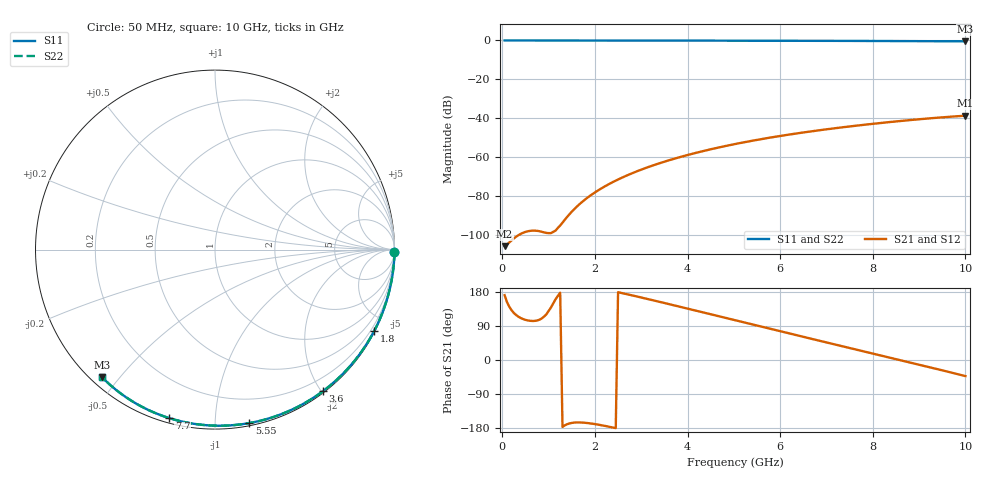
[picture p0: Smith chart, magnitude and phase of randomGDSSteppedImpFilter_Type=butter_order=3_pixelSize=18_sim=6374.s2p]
! freq	dB(S11)	phase(S11)	dB(S12)	phase(S12)
!  dB(S21)	phase(S21)	dB(S22)	phase(S22)
!S-par simulation data
#  GHz  S  DB  R 50
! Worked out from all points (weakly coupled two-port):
!   200 points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, 50 MHz to 10 GHz, reference 50 ohm
!   highest |S21| = -38.64 dB at 10 GHz (marker M1); lowest = -105.6 dB at 50 MHz (marker M2)
!   lowest |S11| = -0.4 dB at 10 GHz (marker M3), VSWR 38.62, Z = 1.56 - j22.4 ohm
!   |S11| at or under -10 dB: nowhere
!   |S22| runs from -0.4 to 0.0 dB; largest |S21 - S12| = 0
!   S11 on the Smith chart (normalised r, x): 50 MHz: open; 1.8 GHz: 0.04, -4.17; 3.6 GHz: 0.02, -2.02; 5.55 GHz: 0.02, -1.22; 7.7 GHz: 0.02, -0.76; 10 GHz: 0.03, -0.45
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0.05  -0.00 -0.8  -105.63 171.0  -105.63 171.0  -0.00 -0.8
0.9  -0.02 -13.6  -98.53 114.4  -98.53 114.4  -0.02 -13.6
1.75  -0.03 -26.2  -82.39 -165.3  -82.39 -165.3  -0.03 -26.2
1.8  -0.03 -27.0  -81.44 -165.8  -81.44 -165.8  -0.03 -27.0
1.85  -0.04 -27.7  -80.53 -166.5  -80.53 -166.5  -0.04 -27.7
1.9  -0.04 -28.4  -79.67 -167.3  -79.67 -167.3  -0.04 -28.4
2.05  -0.04 -30.6  -77.26 -170.1  -77.26 -170.1  -0.04 -30.6
2.25  -0.04 -33.5  -74.44 -174.7  -74.44 -174.7  -0.04 -33.5
2.45  -0.05 -36.4  -71.96 -179.8  -71.96 -179.8  -0.05 -36.4
2.65  -0.05 -39.3  -69.74 174.8  -69.74 174.8  -0.05 -39.3
3  -0.06 -44.3  -66.34 165.0  -66.34 165.0  -0.06 -44.3
3.4  -0.07 -50.0  -63.01 153.4  -63.01 153.4  -0.07 -50.0
3.6  -0.07 -52.7  -61.52 147.5  -61.52 147.5  -0.07 -52.7
4.3  -0.09 -62.3  -57.01 126.7  -57.01 126.7  -0.09 -62.3
5.05  -0.11 -72.3  -53.08 104.3  -53.08 104.3  -0.11 -72.3
5.55  -0.13 -78.8  -50.84 89.3  -50.84 89.3  -0.13 -78.8
6.1  -0.15 -85.7  -48.67 72.9  -48.67 72.9  -0.15 -85.7
6.7  -0.18 -93.2  -46.58 55.2  -46.58 55.2  -0.18 -93.2
7.7  -0.24 -105.2  -43.60 26.0  -43.60 26.0  -0.24 -105.2
8.35  -0.29 -112.8  -41.94 7.0  -41.94 7.0  -0.29 -112.8
9.15  -0.36 -122.0  -40.15 -16.6  -40.15 -16.6  -0.36 -122.0
10  -0.45 -131.6  -38.64 -42.5  -38.64 -42.5  -0.45 -131.6
